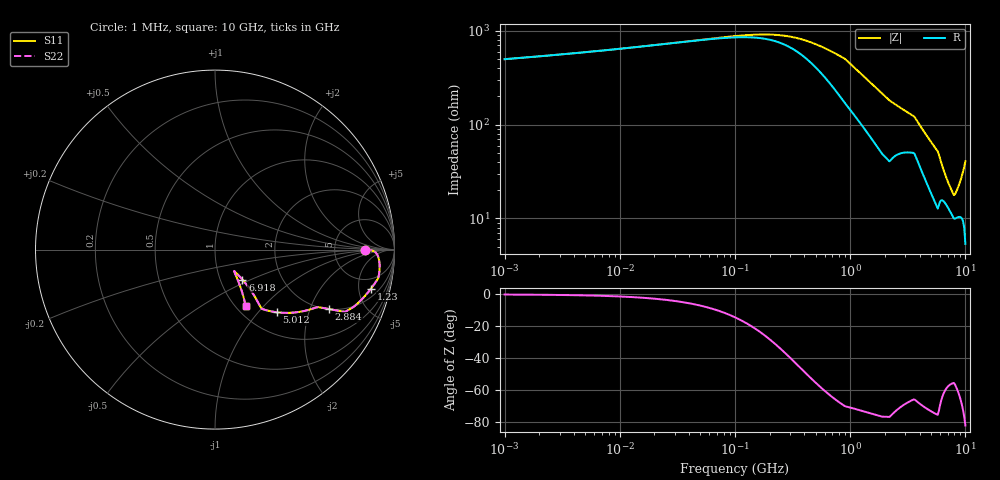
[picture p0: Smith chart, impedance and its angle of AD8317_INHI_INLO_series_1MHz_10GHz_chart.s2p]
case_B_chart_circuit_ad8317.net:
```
# B: circuit model of J1->U1 + AD8317 Zin
Pac:P1 n1 gnd Num="1" Z="50 Ohm" P="0 dBm" f="1e9"
TLIN:PAD n1 a Z="71.42 Ohm" L="1.856910e-03" Alpha="1.4753" Temp="26.85"
TLIN:L1 a r1 Z="87.65 Ohm" L="1.080240e-03" Alpha="1.4274" Temp="26.85"
TLIN:L2 r1 r2 Z="77.99 Ohm" L="1.663483e-03" Alpha="1.4303" Temp="26.85"
TLIN:L3 r2 c1a Z="87.65 Ohm" L="1.828099e-03" Alpha="1.4274" Temp="26.85"
TLIN:L4 c1b inhi Z="95.36 Ohm" L="2.790741e-03" Alpha="1.4261" Temp="26.85"
TLIN:L5 inlo c2b Z="82.40 Ohm" L="2.826499e-03" Alpha="1.4288" Temp="26.85"
R:R1 r1 R1x R="100 Ohm" Temp="26.85"
L:R1L R1x gnd L="0.25 nH"
R:R2 r2 R2x R="100 Ohm" Temp="26.85"
L:R2L R2x gnd L="0.25 nH"
C:C1 c1a c1m C="47 nF"
L:C1L c1m c1n L="0.25 nH"
R:C1R c1n c1b R="0.035 Ohm"
C:C2 c2b c2m C="47 nF"
L:C2L c2m c2n L="0.25 nH"
R:C2R c2n gnd R="0.035 Ohm"
SPfile:CHIP inhi inlo gnd File="AD8317_INHI_INLO_series_1MHz_10GHz_chart.s2p" Data="rectangular" Interpolator="linear" duringDC="open"
.SP:SP1 Type="log" Start="1e6" Stop="1e10" Points="401"
```
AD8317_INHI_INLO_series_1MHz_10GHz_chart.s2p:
! AD8317 input impedance model 'chart', 1 MHz - 10 GHz (see ad8317_input_model.py)
! Reference impedance 50 ohm. INLO is ac-coupled RF common.
! 2-port series element Zin between port1 (INHI) and port2 (INLO). Connect to rfsim ports 2 and 3.
# HZ S RI R 50
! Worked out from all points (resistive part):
!   401 points, 1 MHz to 10 GHz, reference 50 ohm
!   read as one part in series: R = 502 ohm at 1.047 MHz
!   S11 on the Smith chart (normalised r, x): 1 MHz: 11, -0; 1.23 GHz: 3.06, -6.74; 2.884 GHz: 2.00, -2.72; 5.012 GHz: 1.38, -1.27; 6.918 GHz: 1.27, -0.45; 10 GHz: 1.11, -0.81
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1000000  0.8333 -0.000305  0.1667 0.000305  0.1667 0.000305  0.8333 -0.000305
1.023293e8  0.9009 -0.0234  0.0991 0.0234  0.0991 0.0234  0.9009 -0.0234
3.801894e8  0.9166 -0.0762  0.0834 0.0762  0.0834 0.0762  0.9166 -0.0762
1.230269e9  0.869 -0.2177  0.131 0.2177  0.131 0.2177  0.869 -0.2177
2.137962e9  0.7339 -0.3416  0.2661 0.3416  0.2661 0.3416  0.7339 -0.3416
2.884032e9  0.6342 -0.3312  0.3658 0.3312  0.3658 0.3312  0.6342 -0.3312
5.011872e9  0.3442 -0.3493  0.6558 0.3493  0.6558 0.3493  0.3442 -0.3493
5.754399e9  0.2606 -0.3303  0.7394 0.3303  0.7394 0.3303  0.2606 -0.3303
6.91831e9  0.1525 -0.1666  0.8475 0.1666  0.8475 0.1666  0.1525 -0.1666
8.128305e9  0.1074 -0.123  0.8926 0.123  0.8926 0.123  0.1074 -0.123
1e10  0.1721 -0.317  0.8279 0.317  0.8279 0.317  0.1721 -0.317
